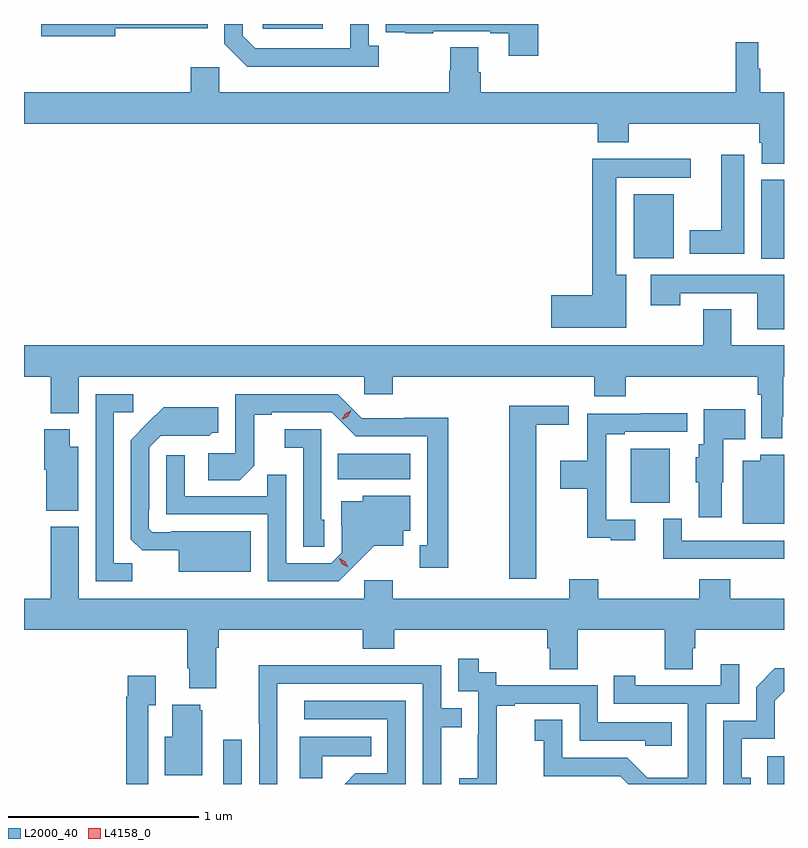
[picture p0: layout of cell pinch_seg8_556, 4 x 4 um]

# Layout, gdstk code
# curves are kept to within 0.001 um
import gdstk
lib = gdstk.Library(unit=1e-6, precision=1e-09)
def R(c, l, rs):  # rectangles x0, y0, x1, y1
    for r in rs: c.add(gdstk.rectangle(r[:2], r[2:], *l))
def P(c, l, *ps):  # polygons
    for p in ps: c.add(gdstk.Polygon(p, *l))
L2000_40 = (2000, 40)
L4158_0 = (4158, 0)

pinch_seg8_556 = lib.new_cell('pinch_seg8_556')
R(pinch_seg8_556, L2000_40, [(166.515,1113.024,166.611,1113.256), (169.377,1113.024,169.466,1113.171), (168.659,1114.505,168.865,1114.789), (167.116,1114.628,167.5,1114.762), (169.346,1115.788,169.466,1116.204), (168.674,1115.792,168.886,1116.127), (166.722,1116.999,167.038,1117.024)])
P(pinch_seg8_556, L2000_40, [(167.332,1116.91),(167.28,1116.91),(167.28,1117.024),(167.183,1117.024),(167.183,1116.897),(166.683,1116.897),(166.617,1116.963),(166.617,1117.024),(166.521,1117.024),(166.521,1116.921),(166.642,1116.8),(167.332,1116.8)],
  [(165.946,1117.002),(166.432,1117.002),(166.432,1117.024),(165.558,1117.024),(165.558,1116.959),(165.946,1116.959)],
  [(168.173,1117.024),(167.371,1117.024),(167.371,1116.981),(167.473,1116.981),(167.473,1116.975),(167.621,1116.975),(167.621,1116.987),(167.921,1116.987),(167.921,1116.975),(168.017,1116.975),(168.017,1116.858),(168.173,1116.858)],
  [(169.466,1116.664),(169.342,1116.664),(169.342,1116.788),(169.33,1116.788),(169.33,1116.928),(169.213,1116.928),(169.213,1116.664),(167.87,1116.664),(167.87,1116.77),(167.857,1116.77),(167.857,1116.902),(167.71,1116.902),(167.71,1116.777),(167.705,1116.777),(167.705,1116.664),(166.494,1116.664),(166.494,1116.796),(166.343,1116.796),(166.343,1116.664),(165.466,1116.664),(165.466,1116.5),(168.485,1116.5),(168.485,1116.401),(168.65,1116.401),(168.65,1116.5),(169.337,1116.5),(169.337,1116.399),(169.349,1116.399),(169.349,1116.289),(169.466,1116.289)],
  [(169.258,1116.337),(169.136,1116.337),(169.136,1115.938),(168.971,1115.938),(168.971,1115.816),(169.258,1115.816)],
  [(168.637,1115.704),(168.583,1115.704),(168.583,1116.216),(168.976,1116.216),(168.976,1116.314),(168.458,1116.314),(168.458,1115.597),(168.24,1115.597),(168.24,1115.426),(168.637,1115.426)],
  [(169.466,1115.703),(168.765,1115.703),(168.765,1115.544),(168.921,1115.544),(168.921,1115.607),(169.325,1115.607),(169.325,1115.418),(169.466,1115.418)],
  [(169.456,1114.957),(169.463,1114.957),(169.463,1115.168),(169.466,1115.168),(169.466,1115.332),(169.189,1115.332),(169.189,1115.522),(169.042,1115.522),(169.042,1115.332),(165.466,1115.332),(165.466,1115.168),(165.607,1115.168),(165.607,1114.976),(165.754,1114.976),(165.754,1115.168),(167.256,1115.168),(167.256,1115.075),(167.408,1115.075),(167.408,1115.168),(168.467,1115.168),(168.467,1115.066),(168.632,1115.066),(168.632,1115.168),(169.327,1115.168),(169.327,1115.072),(169.347,1115.072),(169.347,1114.845),(169.456,1114.845)],
  [(166.035,1114.187),(165.939,1114.187),(165.939,1114.98),(166.042,1114.98),(166.042,1115.076),(165.843,1115.076),(165.843,1114.092),(166.035,1114.092)],
  [(167.699,1114.952),(167.466,1114.952),(167.466,1114.95),(167.244,1114.95),(167.118,1115.076),(166.578,1115.076),(166.578,1114.764),(166.437,1114.764),(166.437,1114.624),(166.601,1114.624),(166.677,1114.7),(166.677,1114.968),(166.771,1114.968),(166.771,1114.98),(167.085,1114.98),(167.211,1114.854),(167.588,1114.854),(167.588,1114.281),(167.549,1114.281),(167.549,1114.161),(167.699,1114.161)],
  [(168.163,1114.916),(168.334,1114.916),(168.334,1115.014),(168.019,1115.014),(168.019,1114.104),(168.163,1114.104)],
  [(166.66,1114.354),(166.24,1114.354),(166.24,1114.35),(166.14,1114.35),(166.122,1114.368),(166.122,1114.468),(166.125,1114.468),(166.125,1114.797),(166.185,1114.857),(166.442,1114.856),(166.458,1114.872),(166.489,1114.872),(166.489,1115.008),(166.201,1115.008),(166.029,1114.834),(166.029,1114.312),(166.088,1114.253),(166.28,1114.253),(166.28,1114.142),(166.66,1114.142)],
  [(169.138,1114.611),(169.147,1114.611),(169.147,1114.838),(169.262,1114.838),(169.262,1114.996),(169.043,1114.996),(169.043,1114.812),(169.016,1114.812),(169.016,1114.743),(169.001,1114.743),(169.001,1114.611),(169.016,1114.611),(169.016,1114.428),(169.138,1114.428)],
  [(168.682,1114.416),(168.531,1114.416),(168.531,1114.866),(168.628,1114.866),(168.628,1114.878),(168.958,1114.878),(168.958,1114.976),(168.715,1114.976),(168.715,1114.974),(168.43,1114.974),(168.43,1114.726),(168.288,1114.726),(168.288,1114.579),(168.43,1114.579),(168.43,1114.319),(168.554,1114.319),(168.554,1114.308),(168.682,1114.308)],
  [(165.751,1114.798),(165.706,1114.798),(165.706,1114.891),(165.572,1114.891),(165.572,1114.677),(165.584,1114.677),(165.584,1114.463),(165.751,1114.463)],
  [(167.046,1114.416),(167.031,1114.416),(167.031,1114.89),(166.839,1114.89),(166.839,1114.793),(166.935,1114.793),(166.935,1114.273),(167.046,1114.273)],
  [(169.466,1114.756),(169.34,1114.756),(169.34,1114.726),(169.25,1114.726),(169.25,1114.394),(169.466,1114.394)],
  [(167.206,1114.175),(167.309,1114.277),(167.461,1114.277),(167.461,1114.356),(167.5,1114.356),(167.5,1114.54),(167.25,1114.54),(167.25,1114.513),(167.135,1114.513),(167.135,1114.384),(167.139,1114.384),(167.139,1114.242),(167.082,1114.185),(166.845,1114.185),(166.845,1114.652),(166.747,1114.652),(166.747,1114.539),(166.311,1114.539),(166.311,1114.753),(166.215,1114.753),(166.215,1114.443),(166.749,1114.443),(166.749,1114.092),(167.122,1114.092)],
  [(169.466,1114.305),(168.927,1114.305),(168.927,1114.42),(168.83,1114.42),(168.83,1114.209),(169.466,1114.209)],
  [(167.408,1114.096),(167.256,1114.096),(167.256,1114),(165.754,1114),(165.754,1114.378),(165.607,1114.378),(165.607,1114),(165.466,1114),(165.466,1113.836),(166.325,1113.836),(166.325,1113.634),(166.337,1113.634),(166.337,1113.527),(166.477,1113.527),(166.477,1113.74),(166.49,1113.74),(166.49,1113.836),(167.249,1113.836),(167.249,1113.737),(167.414,1113.737),(167.414,1113.836),(168.221,1113.836),(168.221,1113.738),(168.233,1113.738),(168.233,1113.628),(168.381,1113.628),(168.381,1113.836),(168.838,1113.836),(168.838,1113.628),(168.985,1113.628),(168.985,1113.738),(168.998,1113.738),(168.998,1113.836),(169.466,1113.836),(169.466,1114),(169.184,1114),(169.184,1114.102),(169.019,1114.102),(169.019,1114),(168.488,1114),(168.488,1114.102),(168.335,1114.102),(168.335,1114),(167.408,1114)],
  [(167.955,1113.151),(167.954,1113.151),(167.954,1113.435),(168.049,1113.435),(168.049,1113.447),(168.39,1113.447),(168.39,1113.252),(168.735,1113.252),(168.735,1113.225),(168.875,1113.225),(168.875,1113.348),(168.486,1113.348),(168.486,1113.543),(167.952,1113.543),(167.952,1113.612),(167.86,1113.612),(167.86,1113.682),(167.751,1113.682),(167.751,1113.513),(167.856,1113.513),(167.856,1113.284),(167.855,1113.284),(167.855,1113.055),(167.757,1113.055),(167.757,1113.024),(167.955,1113.024)],
  [(169.056,1113.447),(169.23,1113.447),(169.23,1113.655),(169.133,1113.655),(169.133,1113.543),(168.682,1113.543),(168.682,1113.595),(168.571,1113.595),(168.571,1113.447),(168.96,1113.447),(168.96,1113.058),(168.746,1113.058),(168.642,1113.162),(168.3,1113.162),(168.3,1113.361),(168.153,1113.361),(168.153,1113.251),(168.202,1113.251),(168.202,1113.066),(168.605,1113.066),(168.647,1113.024),(169.056,1113.024)],
  [(166.8,1113.552),(167.565,1113.552),(167.565,1113.024),(167.661,1113.024),(167.661,1113.322),(167.771,1113.322),(167.771,1113.423),(167.661,1113.423),(167.661,1113.648),(167.165,1113.648),(167.165,1113.65),(166.702,1113.65),(166.702,1113.343),(166.704,1113.343),(166.704,1113.024),(166.8,1113.024)],
  [(169.292,1113.057),(169.243,1113.057),(169.243,1113.261),(169.416,1113.261),(169.416,1113.462),(169.466,1113.512),(169.466,1113.632),(169.418,1113.632),(169.32,1113.534),(169.32,1113.357),(169.146,1113.357),(169.146,1113.024),(169.292,1113.024)],
  [(166.119,1113.439),(166.159,1113.439),(166.159,1113.595),(166.011,1113.595),(166.011,1113.482),(166.003,1113.482),(166.003,1113.024),(166.119,1113.024)],
  [(167.475,1113.462),(166.941,1113.462),(166.941,1113.366),(167.379,1113.366),(167.379,1113.081),(167.21,1113.081),(167.153,1113.024),(167.475,1113.024)],
  [(166.405,1113.411),(166.394,1113.411),(166.394,1113.442),(166.247,1113.442),(166.247,1113.274),(166.208,1113.274),(166.208,1113.071),(166.405,1113.071)],
  [(167.037,1113.17),(167.294,1113.17),(167.294,1113.274),(166.916,1113.274),(166.916,1113.055),(167.037,1113.055)])
P(pinch_seg8_556, L4158_0, [(167.139,1114.94),(167.139,1114.94),(167.156,1114.972),(167.188,1114.991),(167.189,1114.991),(167.189,1114.99),(167.171,1114.958),(167.139,1114.94)],
  [(167.172,1114.166),(167.142,1114.181),(167.124,1114.21),(167.124,1114.211),(167.124,1114.211),(167.155,1114.196),(167.173,1114.166),(167.173,1114.166)])

lib.write_gds('pinch_seg8_556.gds')
